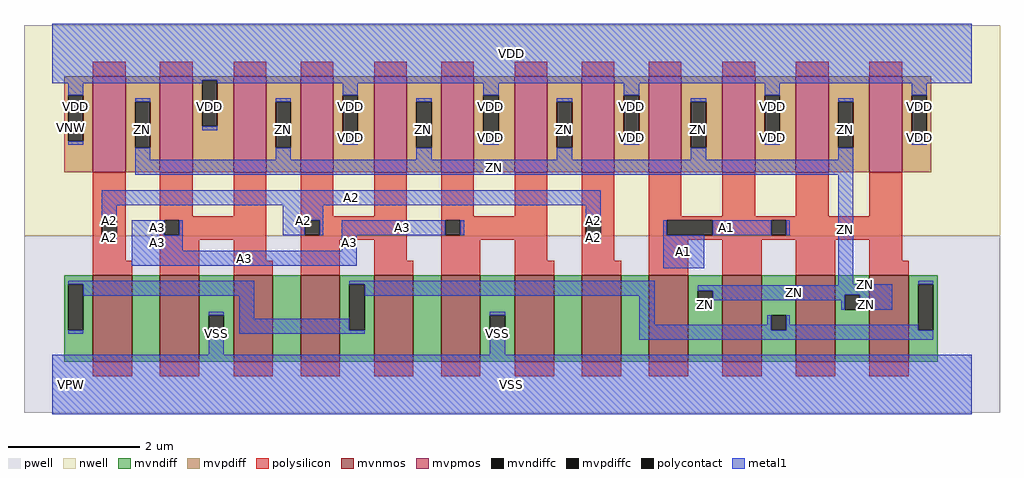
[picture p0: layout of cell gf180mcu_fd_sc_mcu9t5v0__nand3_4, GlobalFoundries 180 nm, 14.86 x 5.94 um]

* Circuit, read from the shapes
.subckt gf180mcu_fd_sc_mcu9t5v0__nand3_4 A1 A2 A3 ZN VDD VNW VPW VSS
XM1 n1 A2 n2 VPW nfet_06v0 w=1.32u l=0.6u
XM2 VSS A3 n1 VPW nfet_06v0 w=1.32u l=0.6u
XM3 n3 A3 VSS VPW nfet_06v0 w=1.32u l=0.6u
XM4 n2 A2 n3 VPW nfet_06v0 w=1.32u l=0.6u
XM5 n4 A2 n2 VPW nfet_06v0 w=1.32u l=0.6u
XM6 VSS A3 n4 VPW nfet_06v0 w=1.32u l=0.6u
XM7 n5 A3 VSS VPW nfet_06v0 w=1.32u l=0.6u
XM8 n6 A2 n5 VPW nfet_06v0 w=1.32u l=0.6u
XM9 ZN A1 n6 VPW nfet_06v0 w=1.32u l=0.6u
XM10 n2 A1 ZN VPW nfet_06v0 w=1.32u l=0.6u m=3
XM11 ZN A2 VDD VNW pfet_06v0 w=1.46u l=0.5u m=4
XM12 VDD A3 ZN VNW pfet_06v0 w=1.46u l=0.5u m=4
XM13 ZN A1 VDD VNW pfet_06v0 w=1.46u l=0.5u m=4
.ends

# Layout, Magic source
magic
tech gf180mcuD
magscale 1 10
<< nwell >>
rect -86 453 2886 1094
<< pwell >>
rect -86 -86 2886 453
<< mvnmos >>
rect 124 69 244 333
rect 328 69 448 333
rect 552 69 672 333
rect 756 69 876 333
rect 980 69 1100 333
rect 1184 69 1304 333
rect 1408 69 1528 333
rect 1612 69 1732 333
rect 1816 69 1936 333
rect 2040 69 2160 333
rect 2264 69 2384 333
rect 2488 69 2608 333
<< mvpmos >>
rect 124 647 224 939
rect 328 647 428 939
rect 552 647 652 939
rect 756 647 856 939
rect 980 647 1080 939
rect 1184 647 1284 939
rect 1408 647 1508 939
rect 1612 647 1712 939
rect 1816 647 1916 939
rect 2040 647 2140 939
rect 2264 647 2364 939
rect 2488 647 2588 939
<< mvndiff >>
rect 36 305 124 333
rect 36 165 49 305
rect 95 165 124 305
rect 36 69 124 165
rect 244 69 328 333
rect 448 211 552 333
rect 448 165 477 211
rect 523 165 552 211
rect 448 69 552 165
rect 672 69 756 333
rect 876 305 980 333
rect 876 165 905 305
rect 951 165 980 305
rect 876 69 980 165
rect 1100 69 1184 333
rect 1304 211 1408 333
rect 1304 165 1333 211
rect 1379 165 1408 211
rect 1304 69 1408 165
rect 1528 69 1612 333
rect 1732 69 1816 333
rect 1936 285 2040 333
rect 1936 239 1965 285
rect 2011 239 2040 285
rect 1936 69 2040 239
rect 2160 211 2264 333
rect 2160 165 2189 211
rect 2235 165 2264 211
rect 2160 69 2264 165
rect 2384 274 2488 333
rect 2384 228 2413 274
rect 2459 228 2488 274
rect 2384 69 2488 228
rect 2608 305 2696 333
rect 2608 165 2637 305
rect 2683 165 2696 305
rect 2608 69 2696 165
<< mvpdiff >>
rect 36 881 124 939
rect 36 741 49 881
rect 95 741 124 881
rect 36 647 124 741
rect 224 861 328 939
rect 224 721 253 861
rect 299 721 328 861
rect 224 647 328 721
rect 428 926 552 939
rect 428 786 457 926
rect 503 786 552 926
rect 428 647 552 786
rect 652 861 756 939
rect 652 721 681 861
rect 727 721 756 861
rect 652 647 756 721
rect 856 881 980 939
rect 856 741 885 881
rect 931 741 980 881
rect 856 647 980 741
rect 1080 861 1184 939
rect 1080 721 1109 861
rect 1155 721 1184 861
rect 1080 647 1184 721
rect 1284 881 1408 939
rect 1284 741 1313 881
rect 1359 741 1408 881
rect 1284 647 1408 741
rect 1508 861 1612 939
rect 1508 721 1537 861
rect 1583 721 1612 861
rect 1508 647 1612 721
rect 1712 881 1816 939
rect 1712 741 1741 881
rect 1787 741 1816 881
rect 1712 647 1816 741
rect 1916 861 2040 939
rect 1916 721 1945 861
rect 1991 721 2040 861
rect 1916 647 2040 721
rect 2140 881 2264 939
rect 2140 741 2169 881
rect 2215 741 2264 881
rect 2140 647 2264 741
rect 2364 861 2488 939
rect 2364 721 2393 861
rect 2439 721 2488 861
rect 2364 647 2488 721
rect 2588 881 2676 939
rect 2588 741 2617 881
rect 2663 741 2676 881
rect 2588 647 2676 741
<< mvndiffc >>
rect 49 165 95 305
rect 477 165 523 211
rect 905 165 951 305
rect 1333 165 1379 211
rect 1965 239 2011 285
rect 2189 165 2235 211
rect 2413 228 2459 274
rect 2637 165 2683 305
<< mvpdiffc >>
rect 49 741 95 881
rect 253 721 299 861
rect 457 786 503 926
rect 681 721 727 861
rect 885 741 931 881
rect 1109 721 1155 861
rect 1313 741 1359 881
rect 1537 721 1583 861
rect 1741 741 1787 881
rect 1945 721 1991 861
rect 2169 741 2215 881
rect 2393 721 2439 861
rect 2617 741 2663 881
<< polysilicon >>
rect 124 939 224 983
rect 328 939 428 983
rect 552 939 652 983
rect 756 939 856 983
rect 980 939 1080 983
rect 1184 939 1284 983
rect 1408 939 1508 983
rect 1612 939 1712 983
rect 1816 939 1916 983
rect 2040 939 2140 983
rect 2264 939 2364 983
rect 2488 939 2588 983
rect 124 500 224 647
rect 124 454 150 500
rect 196 454 224 500
rect 124 377 224 454
rect 328 513 428 647
rect 552 513 652 647
rect 328 500 652 513
rect 328 454 341 500
rect 387 454 652 500
rect 328 441 652 454
rect 124 333 244 377
rect 328 333 448 441
rect 552 377 652 441
rect 756 513 856 647
rect 980 513 1080 647
rect 756 500 1080 513
rect 756 454 769 500
rect 815 454 1080 500
rect 756 441 1080 454
rect 552 333 672 377
rect 756 333 876 441
rect 980 377 1080 441
rect 1184 513 1284 647
rect 1408 513 1508 647
rect 1184 500 1508 513
rect 1184 454 1197 500
rect 1243 454 1508 500
rect 1184 441 1508 454
rect 980 333 1100 377
rect 1184 333 1304 441
rect 1408 377 1508 441
rect 1612 500 1712 647
rect 1612 454 1625 500
rect 1671 454 1712 500
rect 1612 377 1712 454
rect 1816 513 1916 647
rect 2040 513 2140 647
rect 2264 513 2364 647
rect 2488 513 2588 647
rect 1816 500 2588 513
rect 1816 454 1871 500
rect 2011 454 2189 500
rect 2235 454 2588 500
rect 1816 441 2588 454
rect 1408 333 1528 377
rect 1612 333 1732 377
rect 1816 333 1936 441
rect 2040 333 2160 441
rect 2264 333 2384 441
rect 2488 377 2588 441
rect 2488 333 2608 377
rect 124 25 244 69
rect 328 25 448 69
rect 552 25 672 69
rect 756 25 876 69
rect 980 25 1100 69
rect 1184 25 1304 69
rect 1408 25 1528 69
rect 1612 25 1732 69
rect 1816 25 1936 69
rect 2040 25 2160 69
rect 2264 25 2384 69
rect 2488 25 2608 69
<< polycontact >>
rect 150 454 196 500
rect 341 454 387 500
rect 769 454 815 500
rect 1197 454 1243 500
rect 1625 454 1671 500
rect 1871 454 2011 500
rect 2189 454 2235 500
<< metal1 >>
rect 0 926 2800 1098
rect 0 918 457 926
rect 49 881 95 918
rect 49 730 95 741
rect 253 861 299 872
rect 503 918 2800 926
rect 885 881 931 918
rect 457 775 503 786
rect 681 861 727 872
rect 253 684 299 721
rect 1313 881 1359 918
rect 885 730 931 741
rect 1109 861 1155 872
rect 681 684 727 721
rect 1741 881 1787 918
rect 1313 730 1359 741
rect 1537 861 1583 872
rect 1109 684 1155 721
rect 2169 881 2215 918
rect 1741 730 1787 741
rect 1945 861 1991 872
rect 1537 684 1583 721
rect 2617 881 2663 918
rect 2169 730 2215 741
rect 2393 861 2439 872
rect 1945 684 1991 721
rect 2617 730 2663 741
rect 2393 684 2439 721
rect 253 638 2439 684
rect 150 546 1671 592
rect 150 500 196 546
rect 702 500 826 546
rect 1625 500 1671 546
rect 150 443 196 454
rect 242 454 341 500
rect 387 454 398 500
rect 702 454 769 500
rect 815 454 826 500
rect 882 454 1197 500
rect 1243 454 1254 500
rect 242 408 398 454
rect 882 408 928 454
rect 1625 443 1671 454
rect 1860 454 1871 500
rect 2011 454 2189 500
rect 2235 454 2246 500
rect 242 362 928 408
rect 1860 354 1986 454
rect 49 305 615 316
rect 95 270 615 305
rect 49 154 95 165
rect 477 211 523 222
rect 477 90 523 165
rect 569 200 615 270
rect 905 305 1834 316
rect 569 165 905 200
rect 951 270 1834 305
rect 2393 306 2439 638
rect 2393 303 2558 306
rect 569 154 951 165
rect 1333 211 1379 222
rect 1333 90 1379 165
rect 1788 182 1834 270
rect 1965 285 2558 303
rect 2011 274 2558 285
rect 2011 257 2413 274
rect 1965 228 2011 239
rect 2402 228 2413 257
rect 2459 228 2558 274
rect 2637 305 2683 316
rect 2178 182 2189 211
rect 1788 165 2189 182
rect 2235 182 2246 211
rect 2235 165 2637 182
rect 1788 136 2683 165
rect 0 -90 2800 90
<< labels >>
flabel metal1 s 1860 454 2246 500 0 FreeSans 200 0 0 0 A1
port 1 nsew default input
flabel metal1 s 150 546 1671 592 0 FreeSans 200 0 0 0 A2
port 2 nsew default input
flabel metal1 s 882 454 1254 500 0 FreeSans 200 0 0 0 A3
port 3 nsew default input
flabel metal1 s 0 918 2800 1098 0 FreeSans 200 0 0 0 VDD
port 5 nsew power bidirectional abutment
flabel metal1 s 1333 90 1379 222 0 FreeSans 200 0 0 0 VSS
port 8 nsew ground bidirectional abutment
flabel metal1 s 2393 684 2439 872 0 FreeSans 200 0 0 0 ZN
port 4 nsew default output
flabel nwell s 10 734 110 834 0 FreeSans 400 0 0 0 VNW
port 6 nsew power bidirectional
flabel pwell s 10 -50 110 50 0 FreeSans 400 0 0 0 VPW
port 7 nsew ground bidirectional
rlabel metal1 s 1860 354 1986 454 1 A1
port 1 nsew default input
rlabel metal1 s 1625 454 1671 546 1 A2
port 2 nsew default input
rlabel metal1 s 702 454 826 546 1 A2
port 2 nsew default input
rlabel metal1 s 150 454 196 546 1 A2
port 2 nsew default input
rlabel metal1 s 1625 443 1671 454 1 A2
port 2 nsew default input
rlabel metal1 s 150 443 196 454 1 A2
port 2 nsew default input
rlabel metal1 s 242 454 398 500 1 A3
port 3 nsew default input
rlabel metal1 s 882 408 928 454 1 A3
port 3 nsew default input
rlabel metal1 s 242 408 398 454 1 A3
port 3 nsew default input
rlabel metal1 s 242 362 928 408 1 A3
port 3 nsew default input
rlabel metal1 s 1945 684 1991 872 1 ZN
port 4 nsew default output
rlabel metal1 s 1537 684 1583 872 1 ZN
port 4 nsew default output
rlabel metal1 s 1109 684 1155 872 1 ZN
port 4 nsew default output
rlabel metal1 s 681 684 727 872 1 ZN
port 4 nsew default output
rlabel metal1 s 253 684 299 872 1 ZN
port 4 nsew default output
rlabel metal1 s 253 638 2439 684 1 ZN
port 4 nsew default output
rlabel metal1 s 2393 306 2439 638 1 ZN
port 4 nsew default output
rlabel metal1 s 2393 303 2558 306 1 ZN
port 4 nsew default output
rlabel metal1 s 1965 257 2558 303 1 ZN
port 4 nsew default output
rlabel metal1 s 2402 228 2558 257 1 ZN
port 4 nsew default output
rlabel metal1 s 1965 228 2011 257 1 ZN
port 4 nsew default output
rlabel metal1 s 2617 775 2663 918 1 VDD
port 5 nsew power bidirectional abutment
rlabel metal1 s 2169 775 2215 918 1 VDD
port 5 nsew power bidirectional abutment
rlabel metal1 s 1741 775 1787 918 1 VDD
port 5 nsew power bidirectional abutment
rlabel metal1 s 1313 775 1359 918 1 VDD
port 5 nsew power bidirectional abutment
rlabel metal1 s 885 775 931 918 1 VDD
port 5 nsew power bidirectional abutment
rlabel metal1 s 457 775 503 918 1 VDD
port 5 nsew power bidirectional abutment
rlabel metal1 s 49 775 95 918 1 VDD
port 5 nsew power bidirectional abutment
rlabel metal1 s 2617 730 2663 775 1 VDD
port 5 nsew power bidirectional abutment
rlabel metal1 s 2169 730 2215 775 1 VDD
port 5 nsew power bidirectional abutment
rlabel metal1 s 1741 730 1787 775 1 VDD
port 5 nsew power bidirectional abutment
rlabel metal1 s 1313 730 1359 775 1 VDD
port 5 nsew power bidirectional abutment
rlabel metal1 s 885 730 931 775 1 VDD
port 5 nsew power bidirectional abutment
rlabel metal1 s 49 730 95 775 1 VDD
port 5 nsew power bidirectional abutment
rlabel metal1 s 477 90 523 222 1 VSS
port 8 nsew ground bidirectional abutment
rlabel metal1 s 0 -90 2800 90 1 VSS
port 8 nsew ground bidirectional abutment
<< properties >>
string FIXED_BBOX 0 0 2800 1008
string GDS_END 57962
string GDS_FILE $PDKPATH/libs.ref/gf180mcu_fd_sc_mcu9t5v0/gds/gf180mcu_fd_sc_mcu9t5v0.gds
string GDS_START 51544
string LEFclass core
string LEFsite GF018hv5v_green_sc9
string LEFsymmetry X Y
<< end >>
